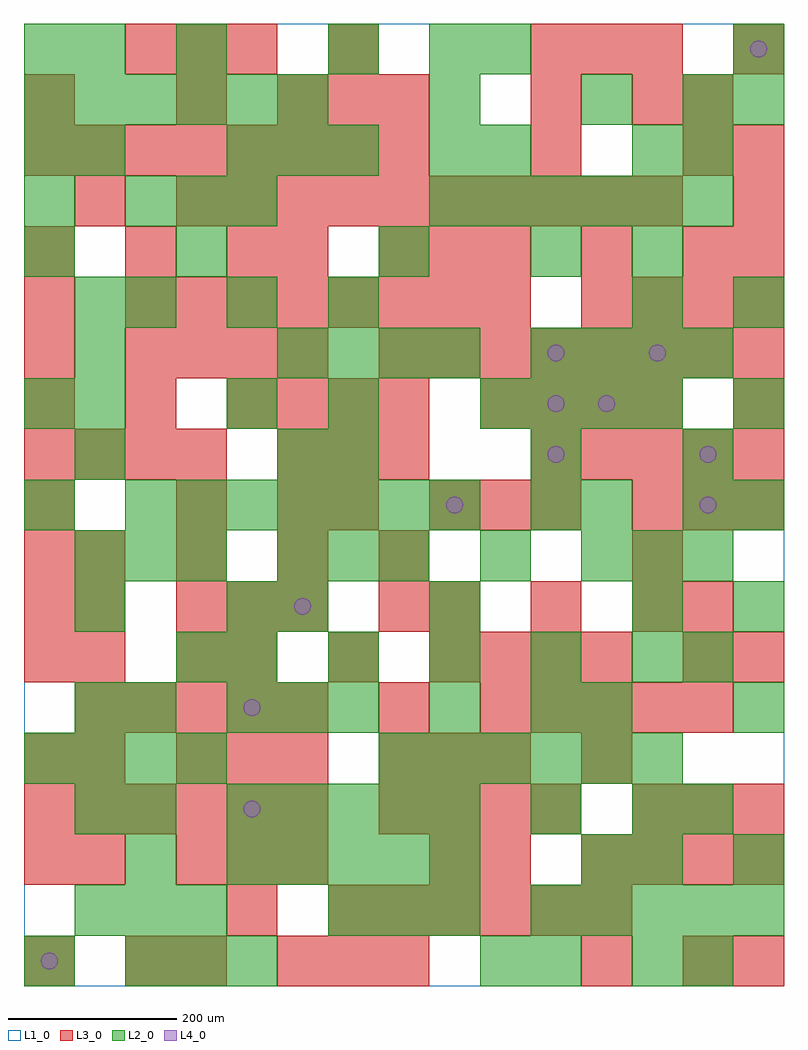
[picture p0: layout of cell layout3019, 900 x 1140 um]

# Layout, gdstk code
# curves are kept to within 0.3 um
import gdstk
lib = gdstk.Library(unit=1e-6, precision=1e-09)
def R(c, l, rs):  # rectangles x0, y0, x1, y1
    for r in rs: c.add(gdstk.rectangle(r[:2], r[2:], *l))
def A(c, l, x, y, w, h, nx, ny, dx, dy):  # array of equal rectangles
    R(c, l, [(x+i*dx, y+j*dy, x+i*dx+w, y+j*dy+h) for i in range(nx) for j in range(ny)])
def P(c, l, *ps):  # polygons
    for p in ps: c.add(gdstk.Polygon(p, *l))
L1_0 = (1, 0)
L2_0 = (2, 0)
L3_0 = (3, 0)
L4_0 = (4, 0)

layout3019 = lib.new_cell('layout3019')
R(layout3019, L1_0, [(0,0,900,1140)])
A(layout3019, L2_0, 120, 0, 60, 60, 3, 2, 60, 900)
A(layout3019, L2_0, 540, 0, 60, 60, 1, 3, 0, 480)
A(layout3019, L2_0, 780, 0, 60, 60, 1, 4, 0, 180)
A(layout3019, L2_0, 60, 60, 60, 60, 3, 2, 60, 420)
A(layout3019, L2_0, 360, 60, 60, 60, 3, 1, 60, 0)
A(layout3019, L2_0, 600, 60, 60, 60, 5, 1, 60, 0)
A(layout3019, L2_0, 240, 120, 60, 60, 5, 2, 60, 60)
A(layout3019, L2_0, 60, 180, 60, 60, 1, 3, 0, 120)
A(layout3019, L2_0, 0, 240, 60, 60, 4, 1, 60, 0)
A(layout3019, L2_0, 420, 240, 60, 60, 6, 1, 60, 0)
A(layout3019, L2_0, 240, 300, 60, 60, 3, 2, 60, 660)
A(layout3019, L2_0, 840, 300, 60, 60, 1, 5, 0, 120)
A(layout3019, L2_0, 240, 360, 60, 60, 5, 1, 120, 0)
A(layout3019, L2_0, 300, 480, 60, 60, 3, 1, 60, 0)
A(layout3019, L2_0, 660, 480, 60, 60, 3, 1, 60, 0)
A(layout3019, L2_0, 120, 540, 60, 60, 7, 1, 60, 0)
A(layout3019, L2_0, 60, 600, 60, 60, 1, 4, 0, 60)
A(layout3019, L2_0, 540, 660, 60, 60, 4, 1, 60, 0)
A(layout3019, L2_0, 300, 720, 60, 60, 4, 1, 60, 0)
A(layout3019, L2_0, 600, 720, 60, 60, 4, 1, 60, 0)
A(layout3019, L2_0, 120, 780, 60, 60, 3, 1, 120, 0)
A(layout3019, L2_0, 0, 840, 60, 60, 1, 3, 0, 60)
A(layout3019, L2_0, 480, 900, 60, 60, 6, 1, 60, 0)
A(layout3019, L2_0, 480, 960, 60, 60, 1, 3, 0, 60)
A(layout3019, L2_0, 0, 1020, 60, 60, 6, 1, 60, 0)
R(layout3019, L2_0, [(0,0,60,60), (600,0,660,60), (720,0,780,60), (120,120,180,180), (660,120,720,180), (720,120,780,180), (840,120,900,180), (120,180,180,240), (600,180,660,240), (720,180,780,240), (120,300,180,360), (480,300,540,360), (600,300,660,360), (660,300,720,360), (180,360,240,420), (240,420,300,480), (300,420,360,480), (480,420,540,480), (720,420,780,480), (0,540,60,600), (600,540,660,600), (660,540,720,600), (300,600,360,660), (360,600,420,660), (600,600,660,660), (780,600,840,660), (0,660,60,720), (240,660,300,720), (360,660,420,720), (720,780,780,840), (180,840,240,900), (420,840,480,900), (600,840,660,900), (720,840,780,900), (60,960,120,1020), (720,960,780,1020), (780,960,840,1020), (660,1020,720,1080), (780,1020,840,1080), (840,1020,900,1080), (0,1080,60,1140), (60,1080,120,1140), (180,1080,240,1140), (360,1080,420,1140), (540,1080,600,1140), (840,1080,900,1140)])
A(layout3019, L3_0, 0, 0, 60, 60, 1, 4, 0, 120)
A(layout3019, L3_0, 300, 0, 60, 60, 3, 2, 60, 600)
A(layout3019, L3_0, 360, 60, 60, 60, 6, 1, 60, 0)
A(layout3019, L3_0, 60, 120, 60, 60, 1, 3, 0, 120)
A(layout3019, L3_0, 180, 120, 60, 60, 3, 2, 60, 120)
A(layout3019, L3_0, 660, 120, 60, 60, 4, 2, 60, 660)
A(layout3019, L3_0, 0, 180, 60, 60, 6, 1, 60, 0)
A(layout3019, L3_0, 420, 180, 60, 60, 4, 1, 60, 0)
A(layout3019, L3_0, 720, 180, 60, 60, 3, 2, 60, 360)
A(layout3019, L3_0, 420, 240, 60, 60, 3, 2, 60, 600)
A(layout3019, L3_0, 60, 300, 60, 60, 5, 1, 60, 0)
A(layout3019, L3_0, 540, 300, 60, 60, 5, 1, 60, 0)
A(layout3019, L3_0, 240, 360, 60, 60, 3, 1, 120, 0)
A(layout3019, L3_0, 540, 360, 60, 60, 3, 1, 60, 0)
A(layout3019, L3_0, 0, 420, 60, 60, 1, 3, 0, 60)
A(layout3019, L3_0, 180, 420, 60, 60, 3, 1, 60, 0)
A(layout3019, L3_0, 480, 420, 60, 60, 3, 1, 120, 0)
A(layout3019, L3_0, 60, 480, 60, 60, 4, 1, 120, 0)
A(layout3019, L3_0, 480, 540, 60, 60, 3, 1, 60, 0)
A(layout3019, L3_0, 0, 600, 60, 60, 4, 1, 60, 0)
A(layout3019, L3_0, 600, 600, 60, 60, 5, 1, 60, 0)
A(layout3019, L3_0, 0, 660, 60, 60, 3, 2, 120, 180)
A(layout3019, L3_0, 300, 660, 60, 60, 3, 2, 60, 360)
A(layout3019, L3_0, 540, 660, 60, 60, 4, 1, 60, 0)
A(layout3019, L3_0, 120, 720, 60, 60, 4, 1, 60, 0)
A(layout3019, L3_0, 420, 720, 60, 60, 8, 1, 60, 0)
A(layout3019, L3_0, 120, 780, 60, 60, 8, 1, 60, 0)
A(layout3019, L3_0, 840, 840, 60, 60, 1, 3, 0, 60)
A(layout3019, L3_0, 180, 900, 60, 60, 10, 1, 60, 0)
A(layout3019, L3_0, 0, 960, 60, 60, 8, 1, 60, 0)
A(layout3019, L3_0, 120, 1080, 60, 60, 3, 1, 60, 0)
A(layout3019, L3_0, 600, 1080, 60, 60, 3, 1, 60, 0)
R(layout3019, L3_0, [(120,0,180,60), (180,0,240,60), (660,0,720,60), (780,0,840,60), (840,0,900,60), (240,60,300,120), (480,120,540,180), (540,120,600,180), (660,240,720,300), (420,300,480,360), (180,360,240,420), (780,360,840,420), (840,360,900,420), (60,420,120,480), (420,420,480,480), (780,420,840,480), (720,480,780,540), (180,540,240,600), (300,540,360,600), (360,540,420,600), (840,660,900,720), (0,720,60,780), (0,780,60,840), (300,840,360,900), (660,840,720,900), (780,840,840,900), (60,900,120,960), (600,960,660,1020), (780,960,840,1020), (0,1020,60,1080), (180,1020,240,1080), (600,1020,660,1080), (720,1020,780,1080), (780,1020,840,1080), (360,1080,420,1140), (840,1080,900,1140)])
P(layout3019, L4_0, [(40,30),(39.239,33.827),(37.071,37.071),(33.827,39.239),(30,40),(26.173,39.239),(22.929,37.071),(20.761,33.827),(20,30),(20.761,26.173),(22.929,22.929),(26.173,20.761),(30,20),(33.827,20.761),(37.071,22.929),(39.239,26.173)],
  [(280,210),(279.239,213.827),(277.071,217.071),(273.827,219.239),(270,220),(266.173,219.239),(262.929,217.071),(260.761,213.827),(260,210),(260.761,206.173),(262.929,202.929),(266.173,200.761),(270,200),(273.827,200.761),(277.071,202.929),(279.239,206.173)],
  [(280,330),(279.239,333.827),(277.071,337.071),(273.827,339.239),(270,340),(266.173,339.239),(262.929,337.071),(260.761,333.827),(260,330),(260.761,326.173),(262.929,322.929),(266.173,320.761),(270,320),(273.827,320.761),(277.071,322.929),(279.239,326.173)],
  [(340,450),(339.239,453.827),(337.071,457.071),(333.827,459.239),(330,460),(326.173,459.239),(322.929,457.071),(320.761,453.827),(320,450),(320.761,446.173),(322.929,442.929),(326.173,440.761),(330,440),(333.827,440.761),(337.071,442.929),(339.239,446.173)],
  [(520,570),(519.239,573.827),(517.071,577.071),(513.827,579.239),(510,580),(506.173,579.239),(502.929,577.071),(500.761,573.827),(500,570),(500.761,566.173),(502.929,562.929),(506.173,560.761),(510,560),(513.827,560.761),(517.071,562.929),(519.239,566.173)],
  [(640,630),(639.239,633.827),(637.071,637.071),(633.827,639.239),(630,640),(626.173,639.239),(622.929,637.071),(620.761,633.827),(620,630),(620.761,626.173),(622.929,622.929),(626.173,620.761),(630,620),(633.827,620.761),(637.071,622.929),(639.239,626.173)],
  [(640,690),(639.239,693.827),(637.071,697.071),(633.827,699.239),(630,700),(626.173,699.239),(622.929,697.071),(620.761,693.827),(620,690),(620.761,686.173),(622.929,682.929),(626.173,680.761),(630,680),(633.827,680.761),(637.071,682.929),(639.239,686.173)],
  [(640,750),(639.239,753.827),(637.071,757.071),(633.827,759.239),(630,760),(626.173,759.239),(622.929,757.071),(620.761,753.827),(620,750),(620.761,746.173),(622.929,742.929),(626.173,740.761),(630,740),(633.827,740.761),(637.071,742.929),(639.239,746.173)],
  [(700,690),(699.239,693.827),(697.071,697.071),(693.827,699.239),(690,700),(686.173,699.239),(682.929,697.071),(680.761,693.827),(680,690),(680.761,686.173),(682.929,682.929),(686.173,680.761),(690,680),(693.827,680.761),(697.071,682.929),(699.239,686.173)],
  [(760,750),(759.239,753.827),(757.071,757.071),(753.827,759.239),(750,760),(746.173,759.239),(742.929,757.071),(740.761,753.827),(740,750),(740.761,746.173),(742.929,742.929),(746.173,740.761),(750,740),(753.827,740.761),(757.071,742.929),(759.239,746.173)],
  [(820,570),(819.239,573.827),(817.071,577.071),(813.827,579.239),(810,580),(806.173,579.239),(802.929,577.071),(800.761,573.827),(800,570),(800.761,566.173),(802.929,562.929),(806.173,560.761),(810,560),(813.827,560.761),(817.071,562.929),(819.239,566.173)],
  [(820,630),(819.239,633.827),(817.071,637.071),(813.827,639.239),(810,640),(806.173,639.239),(802.929,637.071),(800.761,633.827),(800,630),(800.761,626.173),(802.929,622.929),(806.173,620.761),(810,620),(813.827,620.761),(817.071,622.929),(819.239,626.173)],
  [(880,1110),(879.239,1113.827),(877.071,1117.071),(873.827,1119.239),(870,1120),(866.173,1119.239),(862.929,1117.071),(860.761,1113.827),(860,1110),(860.761,1106.173),(862.929,1102.929),(866.173,1100.761),(870,1100),(873.827,1100.761),(877.071,1102.929),(879.239,1106.173)])

lib.write_gds('layout3019.gds')
